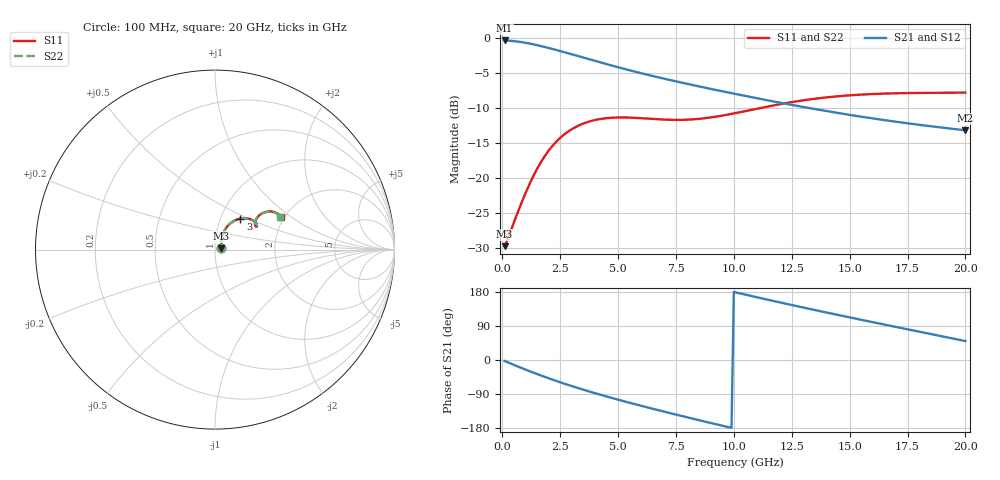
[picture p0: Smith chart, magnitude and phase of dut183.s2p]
! Touchstone file exported from HFSS 2024.1.0
!  File:  C:/UserFiles/LocalFiles/RDL_TSV_Batchsim/temp_RDL_TSV_183_1779439393.aedt
!  Generated:  05:01:13 PM May 22, 2026
!  Design:  RDL_TSV
!  Project:  temp_RDL_TSV_183_1779439393
!  Setup:  Setup1
!  Solution:  Sweep
! Variables:
!  dtsv = 14.84um
!  hbump = 3um
!  htsv = 69.24um
!  ldown = 617.4um
!  lrdl = 673.25um
!  p = 40
!  p1 = 43.13um
!  rhole = 10um
!  subl = 4545.2um
!  t = 450um
!  tdown = 3.04um
!  trdl = 4.91um
!  viad = 10um
!  wdown = 15.71um
!  wrdl = 10.24um
!  xbump = 18um
# GHz S MA R 50.000000
! Terminal data exported
! Port[1] = TM1_1_T1
! Port[2] = TM1_4_T1
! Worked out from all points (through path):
!   200 points, 100 MHz to 20 GHz, reference 50 ohm
!   highest |S21| = -0.28 dB at 100 MHz (marker M1); lowest = -13.2 dB at 20 GHz (marker M2)
!   group delay of S21, straight-line fit = 41.1 ps
!   lowest |S11| = -29.8 dB at 100 MHz (marker M3), VSWR 1.07, Z = 53.3 + j0.757 ohm
!   |S11| at or under -10 dB: start of sweep to 11.08 GHz
!   |S22| runs from -29.8 to -7.8 dB; largest |S21 - S12| = 1.4e-14
!   S11 on the Smith chart (normalised r, x): 100 MHz: 1.07, +0.02; 3 GHz: 1.24, +0.45; 20 GHz: 1.91, +0.84
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0.1  0.03254 12.6  0.9679 -2.6  0.9679 -2.6  0.03254 12.6
! Gamma 0 0 0 0
! Port Impedance 50 0 50 0
0.4  0.04337 38.4  0.9609 -10.3  0.9609 -10.3  0.04338 38.4
0.7  0.0587 52.0  0.9484 -17.9  0.9484 -17.9  0.05871 51.9
1.1  0.08496 61.1  0.9248 -27.6  0.9248 -27.6  0.08496 61.0
1.5  0.1163 63.4  0.8959 -37.0  0.8959 -37.0  0.1162 63.3
2.2  0.1725 59.3  0.8386 -52.5  0.8386 -52.5  0.1723 59.2
2.6  0.2006 55.1  0.8044 -60.8  0.8044 -60.8  0.2003 55.0
3  0.224 50.6  0.7705 -68.8  0.7705 -68.8  0.2236 50.5
3.5  0.246 45.2  0.7294 -78.4  0.7294 -78.4  0.2456 45.1
4.3  0.2661 37.8  0.6689 -92.8  0.6689 -92.8  0.2655 37.7
5.1  0.2718 32.5  0.6156 -106.4  0.6156 -106.4  0.2712 32.4
5.9  0.2692 29.5  0.5692 -119.3  0.5692 -119.3  0.2685 29.4
6.8  0.2634 28.9  0.5239 -133.4  0.5239 -133.4  0.2628 28.8
7.6  0.2612 30.3  0.4887 -145.5  0.4887 -145.5  0.2605 30.2
8.4  0.2648 32.7  0.4571 -157.4  0.4571 -157.4  0.2641 32.6
10.1  0.2928 37.0  0.3995 178.1  0.3995 178.1  0.292 36.9
11.7  0.3315 37.6  0.3543 155.8  0.3543 155.8  0.3306 37.4
13.4  0.3683 35.3  0.3144 133.1  0.3144 133.1  0.3672 35.1
15  0.3915 32.2  0.2837 112.4  0.2837 112.4  0.3902 32.0
16.7  0.4039 29.2  0.2574 91.0  0.2574 91.0  0.4024 29.1
18.4  0.408 27.4  0.2363 69.8  0.2363 69.8  0.4062 27.2
20  0.4094 26.7  0.22 50.0  0.22 50.0  0.4076 26.6
